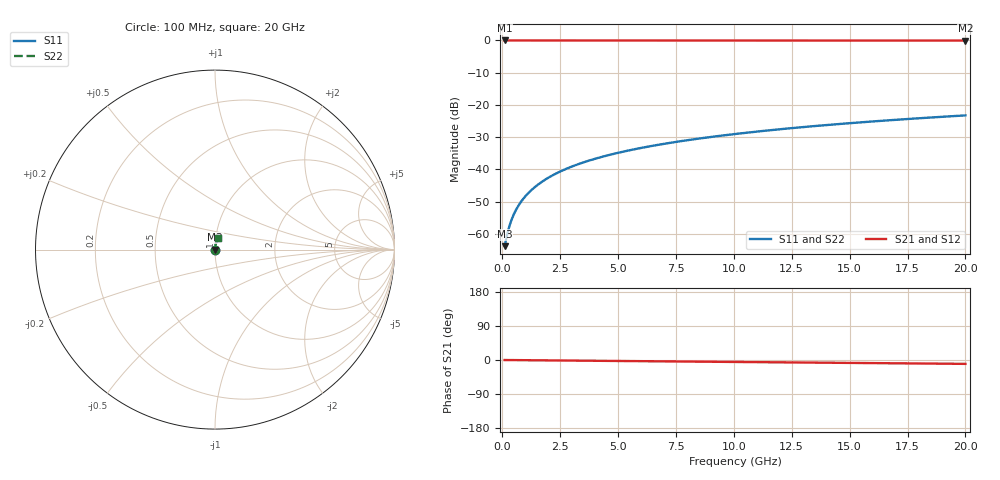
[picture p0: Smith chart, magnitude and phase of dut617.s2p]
! Touchstone file exported from HFSS 2026.1.0
!  File:  C:/ffzhzh/LocalFiles/Ansys_Project_Files/temp_train_TSV_617_1783025834_55676.aedt
!  Generated:  04:59:34 AM Jul  3, 2026
!  Design:  TSV
!  Project:  temp_train_TSV_617_1783025834_55676
! Variables:
!  h_bsmrdl = 2um
!  h_ox = 20um
!  h_rdl = 5um
!  h_sub = 97.37um
!  h_tmrdl = 5um
!  h_tsv = 97.37um
!  h_via = 3um
!  l_bsmrdl = 300um
!  l_sub = 409.64um
!  l_tmrdl = 200um
!  m_sub = 200um
!  pitch = 35.83um
!  r_tsv = 4.82um
!  s_tmrdl = 10um
!  w_bsmrdl = 18um
!  w_sub = 500um
!  w_tmrdl = 12um
!  x_tsv_center1 = 206um
!  x_tsv_center2 = 524um
!  x_tsv_center3 = 736um
!  x_tsv_center4 = 1054um
!  x_tsv_center5 = 1266um
!  x_tsv_center6 = 1584um
# GHz S MA R 50.000000
! Terminal data exported
! Port[1] = TSV1_1_T1
! Port[2] = TSV1_1_T2
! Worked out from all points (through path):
!   200 points, 100 MHz to 20 GHz, reference 50 ohm
!   highest |S21| = 0.00 dB at 100 MHz (marker M1); lowest = 0.0 dB at 20 GHz (marker M2)
!   group delay of S21, straight-line fit = 1.41 ps
!   lowest |S11| = -63.8 dB at 100 MHz (marker M3), VSWR 1.00, Z = 50.1 + j0.0395 ohm
!   |S11| at or under -10 dB: start of sweep to end of sweep
!   |S22| runs from -63.8 to -23.3 dB; largest |S21 - S12| = 3.2e-15
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0.1  0.0006445 37.8  0.9995 -0.1  0.9995 -0.1  0.0006445 37.8
! Gamma 0 0 0 0
! Port Impedance 50 0 50 0
0.2  0.0009441 56.5  0.9995 -0.1  0.9995 -0.1  0.0009441 56.5
0.3  0.001292 65.3  0.9995 -0.2  0.9995 -0.2  0.001292 65.3
0.4  0.001654 70.2  0.9994 -0.2  0.9994 -0.2  0.001654 70.2
0.5  0.00202 73.2  0.9994 -0.3  0.9994 -0.3  0.00202 73.2
0.6  0.002386 75.3  0.9994 -0.3  0.9994 -0.3  0.002386 75.3
0.8  0.003116 77.9  0.9994 -0.4  0.9994 -0.4  0.003116 77.9
1.1  0.004207 80.1  0.9993 -0.6  0.9993 -0.6  0.004207 80.1
1.5  0.005659 81.7  0.9992 -0.8  0.9992 -0.8  0.005659 81.7
1.8  0.006746 82.4  0.9992 -0.9  0.9992 -0.9  0.006746 82.4
2.1  0.00783 82.8  0.9991 -1.1  0.9991 -1.1  0.00783 82.8
2.7  0.009985 83.2  0.999 -1.4  0.999 -1.4  0.009985 83.2
3.5  0.01283 83.4  0.9988 -1.8  0.9988 -1.8  0.01283 83.4
4.2  0.01529 83.3  0.9987 -2.2  0.9987 -2.2  0.01529 83.3
5  0.01808 83.2  0.9985 -2.6  0.9985 -2.6  0.01808 83.2
5.9  0.02119 83.0  0.9983 -3.1  0.9983 -3.1  0.02119 83.0
6.8  0.02429 82.8  0.9981 -3.5  0.9981 -3.5  0.02429 82.8
8.3  0.02942 82.3  0.9978 -4.3  0.9978 -4.3  0.02942 82.3
10.1  0.03554 81.7  0.9975 -5.2  0.9975 -5.2  0.03554 81.7
13.4  0.04671 80.5  0.9967 -6.9  0.9967 -6.9  0.04671 80.5
16.7  0.05779 79.1  0.9959 -8.5  0.9959 -8.5  0.05779 79.1
20  0.06875 77.6  0.995 -10.2  0.995 -10.2  0.06875 77.6
